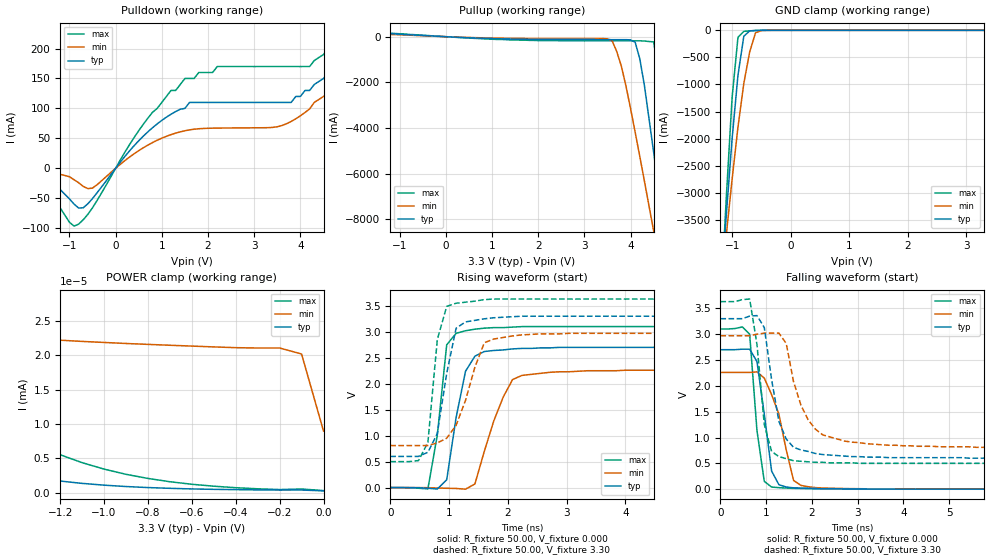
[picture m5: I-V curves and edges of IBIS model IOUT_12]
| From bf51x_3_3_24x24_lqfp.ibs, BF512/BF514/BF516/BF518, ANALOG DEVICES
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|   Model prw0812swcdg_25
[Model]   IOUT_12
Model_type   I/O
Polarity   Non-Inverting
Enable   Active-Low
Vinl =   0.40V
Vinh =   2.40V
Vmeas =   1.20V
Cref =  50.00pF
Rref =   1.00M
Vref =  0.000V
C_comp   4.62pF   4.16pF   5.08pF
[Temperature Range]   25.00   0.12k   -40.00
[Voltage Range]   3.30V   2.97V   3.63V
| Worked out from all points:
|   slope of the pulldown table from 0 to 0.495 V, typ, clamps not added: 10.9 ohm
|   slope of the pullup table from 0 to 0.495 V, typ, clamps not added: 10.8 ohm
|   GND clamp passes 1 mA (typ) near -0.53 V on its own axis
|   POWER clamp passes 1 mA (typ) near -3.01 V on its own axis
|   rising waveform, R_fixture 50.00, V_fixture 0.000: 20-80 % time 254ps typ, 415ps min, 195ps max; typ from 0 V to 2.7 V
|   rising waveform, R_fixture 50.00, V_fixture 3.30: 20-80 % time 249ps typ, 380ps min, 178ps max; typ from 0.6 V to 3.3 V
|   falling waveform, R_fixture 50.00, V_fixture 0.000: 20-80 % time 244ps typ, 394ps min, 199ps max; typ from 2.7 V to 0 V
|   falling waveform, R_fixture 50.00, V_fixture 3.30: 20-80 % time 341ps typ, 506ps min, 235ps max; typ from 3.3 V to 0.6 V
[Pulldown]
| voltage   I(typ)   I(min)   I(max)
-3.3V     0A         0A         0A
-2.1V     0A         0A         0A
-900mV    -59.7mA    -19mA      -96.5mA
-500mV    -50.5mA    -33.03mA   -66mA
600mV     53.68mA    34.3mA     73.6mA
1.5V      100mA      62.7mA     150mA
3.8V      110mA      78.23mA    170mA
5.1V      210mA      170mA      260mA
5.5V      260mA      93.31mA    320mA
5.9V      300mA      93.01mA    380mA
6.1V      200mA      95.25mA    410mA
6.6V      960mA      110mA      3.87A
[Pullup]
| voltage   I(typ)   I(min)   I(max)
-3.3V     42mA       12.24mA    86mA
-2.7V     200mA      16.46mA    290mA
3.6V      -130mA     -170mA     -180mA
3.8V      -130mA     -1.28A     -180mA
4.1V      -240mA     -4.18A     -180mA
4.2V      -960mA     -5.24A     -180mA
4.3V      -2.13A     -6.32A     -190mA
4.5V      -5.05A     -8.51A     -230mA
4.7V      -8.14A     -10.71A    -2.69A
4.9V      -11.28A    -12.93A    -6.88A
5.1V      -14.45A    -15.15A    -11.27A
6.6V      -38.37A    -31.91A    -44.86A
[GND_clamp]
| voltage   I(typ)   I(min)   I(max)
-3.3V     -38.23A    -28.13A    -52.07A
-1.2V     -4.92A     -4.84A     -5.19A
-1.1V     -3.42A     -3.78A     -3.1A
-1V       -2A        -2.75A     -1.24A
-900mV    -830mA     -1.79A     -130mA
-800mV    -110mA     -980mA     -19.35mA
-700mV    -10.17mA   -400mA     -9.85mA
-600mV    -2.61mA    -45.18mA   -3.52mA
-500mV    -460uA     -4.57mA    -550uA
3.3V      270pA      21.08nA    210pA
[POWER_clamp]
| voltage   I(typ)   I(min)   I(max)
-3.3V     770mA      230nA      7.85A
-2.7V     34.08nA    35.51nA    340mA
-2.6V     27.13nA    33.37nA    9.27mA
-2.4V     19.53nA    29.9nA     610nA
-2.1V     11.45nA    26.35nA    31.53nA
-2V       9.46nA     25.51nA    26.73nA
-1.6V     4.14nA     23.31nA    12.92nA
-1.3V     2.12nA     22.43nA    6.92nA
-800mV    750pA      21.61nA    2.08nA
-200mV    390pA      21.08nA    460pA
-100mV    390pA      20.21nA    540pA
0V        270pA      8.99nA     310pA
[Ramp]
| variable   typ   min   max
dV/dt_r   1.62/0.20n   1.36/0.32n   1.86/0.14n
dV/dt_f   1.62/0.27n   1.30/0.43n   1.88/0.20n
R_load = 50.00
[Rising Waveform]
R_fixture = 50.00
V_fixture = 0.000
V_fixture_min = 0.000
V_fixture_max = 0.000
L_fixture = 0.000H
C_fixture = 0.000F
| time   V(typ)   V(min)   V(max)
0s        0V         0V         0V
640ps     -12.99mV   -2.01mV    -25.12mV
800ps     -27.4mV    -9.06mV    1.01V
960ps     150mV      -13.2mV    2.75V
1.12ns    1.35V      -17.31mV   2.97V
1.28ns    2.24V      -30.54mV   3.02V
1.44ns    2.53V      70.07mV    3.05V
1.92ns    2.65V      1.74V      3.08V
2.24ns    2.68V      2.16V      3.1V
8ns       2.7V       2.26V      3.1V
[Rising Waveform]
R_fixture = 50.00
V_fixture = 3.30
V_fixture_min = 2.97
V_fixture_max = 3.63
L_fixture = 0.000H
C_fixture = 0.000F
| time   V(typ)   V(min)   V(max)
0s        600mV      810mV      500mV
480ps     600mV      810mV      520mV
640ps     680mV      810mV      870mV
800ps     1.04V      860mV      2.85V
960ps     2.2V       950mV      3.49V
1.12ns    3.07V      1.2V       3.55V
1.6ns     3.25V      2.79V      3.62V
1.76ns    3.27V      2.86V      3.63V
3.04ns    3.3V       2.97V      3.63V
8ns       3.3V       2.97V      3.63V
[Falling Waveform]
R_fixture = 50.00
V_fixture = 0.000
V_fixture_min = 0.000
V_fixture_max = 0.000
L_fixture = 0.000H
C_fixture = 0.000F
| time   V(typ)   V(min)   V(max)
0s        2.7V       2.26V      3.1V
480ps     2.71V      2.26V      3.14V
640ps     2.71V      2.26V      3V
800ps     2.47V      2.27V      1.13V
960ps     1.45V      2.15V      150mV
1.12ns    350mV      1.83V      40.93mV
1.28ns    86.15mV    1.45V      29.38mV
1.6ns     25.64mV    170mV      15.47mV
1.76ns    21.11mV    73.27mV    13.14mV
8ns       18.07uV    64.3uV     6.9uV
[Falling Waveform]
R_fixture = 50.00
V_fixture = 3.30
V_fixture_min = 2.97
V_fixture_max = 3.63
L_fixture = 0.000H
C_fixture = 0.000F
| time   V(typ)   V(min)   V(max)
0s        3.3V       2.97V      3.63V
640ps     3.35V      2.97V      3.68V
800ps     3.36V      3V         2.8V
960ps     3.13V      3.02V      1.25V
1.12ns    2.12V      3.02V      730mV
1.28ns    1.31V      3.02V      630mV
1.44ns    970mV      2.82V      590mV
1.76ns    760mV      1.63V      540mV
2.24ns    670mV      1.05V      520mV
8ns       600mV      810mV      500mV
